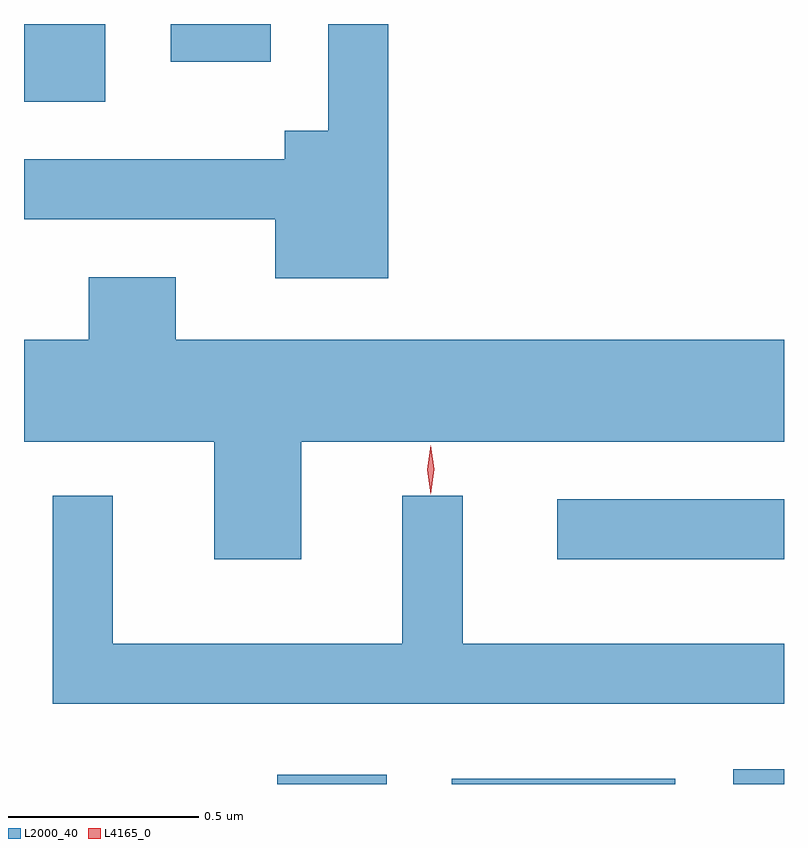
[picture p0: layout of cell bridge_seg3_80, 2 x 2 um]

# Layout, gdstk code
import gdstk
lib = gdstk.Library(unit=1e-6, precision=1e-09)
def R(c, l, rs):  # rectangles x0, y0, x1, y1
    for r in rs: c.add(gdstk.rectangle(r[:2], r[2:], *l))
def P(c, l, *ps):  # polygons
    for p in ps: c.add(gdstk.Polygon(p, *l))
L2000_40 = (2000, 40)
L4165_0 = (4165, 0)

bridge_seg3_80 = lib.new_cell('bridge_seg3_80')
R(bridge_seg3_80, L2000_40, [(1128.736,1162.855,1129.024,1162.879), (1129.196,1162.855,1129.784,1162.869), (1129.936,1162.855,1130.07,1162.894), (1129.473,1163.446,1130.07,1163.604), (1128.07,1164.651,1128.284,1164.855), (1128.456,1164.756,1128.719,1164.855)])
P(bridge_seg3_80, L2000_40, [(1129.029,1164.855),(1128.871,1164.855),(1128.871,1164.574),(1128.756,1164.574),(1128.756,1164.499),(1128.07,1164.499),(1128.07,1164.341),(1128.731,1164.341),(1128.731,1164.186),(1129.029,1164.186)],
  [(1128.799,1163.756),(1130.07,1163.756),(1130.07,1164.024),(1128.469,1164.024),(1128.469,1164.189),(1128.241,1164.189),(1128.241,1164.024),(1128.07,1164.024),(1128.07,1163.756),(1128.571,1163.756),(1128.571,1163.446),(1128.799,1163.446)],
  [(1130.07,1163.224),(1129.224,1163.224),(1129.224,1163.613),(1129.066,1163.613),(1129.066,1163.224),(1128.304,1163.224),(1128.304,1163.613),(1128.146,1163.613),(1128.146,1163.066),(1130.07,1163.066)])
P(bridge_seg3_80, L4165_0, [(1129.14,1163.618),(1129.131,1163.682),(1129.14,1163.747),(1129.14,1163.747),(1129.141,1163.747),(1129.15,1163.683),(1129.141,1163.618),(1129.141,1163.618)])

lib.write_gds('bridge_seg3_80.gds')
